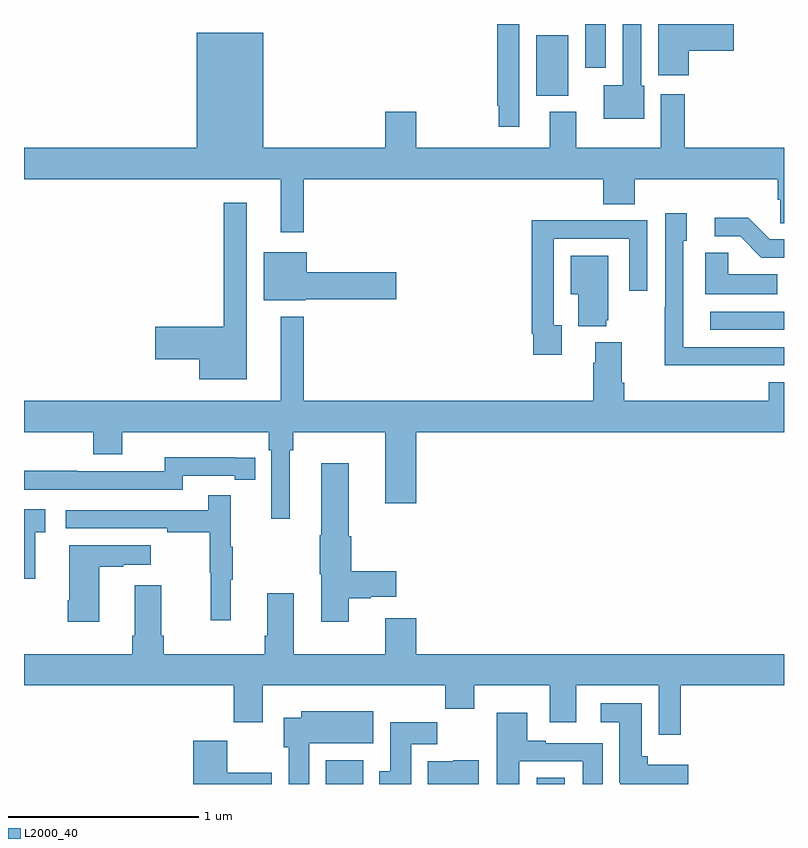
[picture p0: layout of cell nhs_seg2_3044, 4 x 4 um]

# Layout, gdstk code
import gdstk
lib = gdstk.Library(unit=1e-6, precision=1e-09)
def R(c, l, rs):  # rectangles x0, y0, x1, y1
    for r in rs: c.add(gdstk.rectangle(r[:2], r[2:], *l))
def P(c, l, *ps):  # polygons
    for p in ps: c.add(gdstk.Polygon(p, *l))
L2000_40 = (2000, 40)

nhs_seg2_3044 = lib.new_cell('nhs_seg2_3044')
R(nhs_seg2_3044, L2000_40, [(272.589,629.8,272.785,629.926), (273.698,629.8,273.847,629.834), (274.611,632.19,275,632.286), (273.695,633.422,273.865,633.742), (273.953,633.57,274.063,633.8)])
P(nhs_seg2_3044, L2000_40, [(273.606,633.8),(273.49,633.8),(273.49,633.37),(273.498,633.37),(273.498,633.258),(273.606,633.258)],
  [(274.499,633.659),(274.735,633.659),(274.735,633.8),(274.337,633.8),(274.337,633.531),(274.499,633.531)],
  [(274.264,633.474),(274.248,633.474),(274.248,633.8),(274.152,633.8),(274.152,633.478),(274.052,633.478),(274.052,633.302),(274.264,633.302)],
  [(272.473,632.984),(274.049,632.984),(274.049,632.851),(274.214,632.851),(274.214,632.984),(274.967,632.984),(274.967,632.875),(274.98,632.875),(274.98,632.752),(275,632.752),(275,633.148),(274.478,633.148),(274.478,633.43),(274.352,633.43),(274.352,633.148),(273.907,633.148),(273.907,633.337),(273.767,633.337),(273.767,633.148),(273.064,633.148),(273.064,633.337),(272.9,633.337),(272.9,633.148),(272.26,633.148),(272.26,633.754),(271.91,633.754),(271.91,633.148),(271,633.148),(271,632.984),(272.351,632.984),(272.351,632.703),(272.473,632.703)],
  [(272.173,632.86),(272.052,632.86),(272.052,632.207),(271.692,632.207),(271.692,632.036),(271.922,632.036),(271.922,631.931),(272.173,631.931)],
  [(274.835,632.004),(275,632.004),(275,632.1),(274.47,632.1),(274.47,632.658),(274.489,632.658),(274.489,632.803),(274.374,632.803),(274.374,632.309),(274.372,632.309),(274.372,632.003),(274.835,632.003)],
  [(275,632.667),(274.926,632.667),(274.813,632.78),(274.635,632.78),(274.635,632.682),(274.769,632.682),(274.88,632.571),(275,632.571)],
  [(273.829,632.214),(273.789,632.214),(273.789,632.67),(274.185,632.67),(274.185,632.397),(274.281,632.397),(274.281,632.766),(273.965,632.766),(273.965,632.768),(273.673,632.768),(273.673,632.17),(273.681,632.17),(273.681,632.058),(273.829,632.058)],
  [(272.484,632.351),(272.959,632.351),(272.959,632.493),(272.488,632.493),(272.488,632.599),(272.261,632.599),(272.261,632.345),(272.484,632.345)],
  [(274.964,632.482),(274.707,632.482),(274.707,632.597),(274.586,632.597),(274.586,632.378),(274.964,632.378)],
  [(274.064,632.241),(274.075,632.241),(274.075,632.581),(273.878,632.581),(273.878,632.378),(273.917,632.378),(273.917,632.21),(274.064,632.21)],
  [(272.398,631.556),(272.417,631.556),(272.417,631.652),(272.9,631.652),(272.9,631.278),(273.064,631.278),(273.064,631.652),(275,631.652),(275,631.915),(274.919,631.915),(274.919,631.816),(274.16,631.816),(274.16,631.912),(274.147,631.912),(274.147,632.125),(274.007,632.125),(274.007,632.018),(273.995,632.018),(273.995,631.816),(272.473,631.816),(272.473,632.26),(272.351,632.26),(272.351,631.816),(271,631.816),(271,631.652),(271.364,631.652),(271.364,631.535),(271.516,631.535),(271.516,631.652),(272.288,631.652),(272.288,631.556),(272.301,631.556),(272.301,631.197),(272.398,631.197)],
  [(271.836,631.422),(272.108,631.422),(272.108,631.402),(272.216,631.402),(272.216,631.518),(272.108,631.518),(272.108,631.519),(271.74,631.519),(271.74,631.446),(271.28,631.446),(271.28,631.448),(271,631.448),(271,631.35),(271.836,631.35)],
  [(272.71,630.778),(272.826,630.778),(272.826,630.785),(272.959,630.785),(272.959,630.92),(272.723,630.92),(272.723,631.103),(272.71,631.103),(272.71,631.489),(272.564,631.489),(272.564,631.109),(272.557,631.109),(272.557,630.903),(272.564,630.903),(272.564,630.654),(272.71,630.654)],
  [(272.087,630.875),(272.098,630.875),(272.098,631.049),(272.087,631.049),(272.087,631.321),(271.969,631.321),(271.969,631.242),(271.221,631.242),(271.221,631.146),(271.753,631.146),(271.753,631.126),(271.977,631.126),(271.977,630.912),(271.984,630.912),(271.984,630.663),(272.087,630.663)],
  [(271.058,631.125),(271.111,631.125),(271.111,631.246),(271,631.246),(271,630.879),(271.058,630.879)],
  [(271.396,630.943),(271.523,630.943),(271.523,630.953),(271.666,630.953),(271.666,631.057),(271.238,631.057),(271.238,630.766),(271.231,630.766),(271.231,630.654),(271.396,630.654)],
  [(274.457,630.32),(275,630.32),(275,630.484),(273.064,630.484),(273.064,630.673),(272.9,630.673),(272.9,630.484),(272.419,630.484),(272.419,630.805),(272.279,630.805),(272.279,630.58),(272.267,630.58),(272.267,630.484),(271.736,630.484),(271.736,630.58),(271.723,630.58),(271.723,630.847),(271.583,630.847),(271.583,630.58),(271.571,630.58),(271.571,630.484),(271,630.484),(271,630.32),(272.105,630.32),(272.105,630.126),(272.257,630.126),(272.257,630.32),(273.217,630.32),(273.217,630.196),(273.369,630.196),(273.369,630.32),(273.767,630.32),(273.767,630.126),(273.907,630.126),(273.907,630.32),(274.341,630.32),(274.341,630.06),(274.457,630.06)],
  [(274.495,629.902),(274.283,629.902),(274.283,629.946),(274.252,629.946),(274.252,630.226),(274.035,630.226),(274.035,630.125),(274.133,630.125),(274.133,629.806),(274.137,629.806),(274.137,629.8),(274.495,629.8)],
  [(272.5,630.014),(272.839,630.014),(272.839,630.184),(272.459,630.184),(272.459,630.148),(272.366,630.148),(272.366,629.994),(272.393,629.994),(272.393,629.8),(272.5,629.8)],
  [(273.607,629.919),(273.941,629.919),(273.941,629.8),(274.045,629.8),(274.045,630.015),(273.745,630.015),(273.745,630.028),(273.649,630.028),(273.649,630.175),(273.488,630.175),(273.488,629.8),(273.607,629.8)],
  [(273.037,630.008),(273.176,630.008),(273.176,630.126),(272.927,630.126),(272.927,629.868),(272.87,629.868),(272.87,629.8),(273.037,629.8)],
  [(272.305,629.86),(272.07,629.86),(272.07,630.028),(271.892,630.028),(271.892,629.8),(272.305,629.8)],
  [(273.394,629.926),(273.258,629.926),(273.258,629.92),(273.125,629.92),(273.125,629.8),(273.394,629.8)])

lib.write_gds('nhs_seg2_3044.gds')
